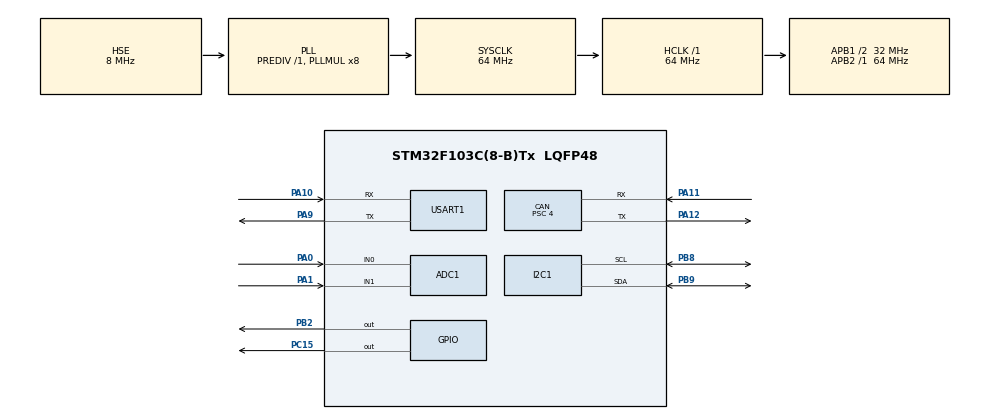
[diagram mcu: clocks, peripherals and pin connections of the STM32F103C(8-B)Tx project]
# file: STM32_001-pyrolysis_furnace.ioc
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Mcu.Family=STM32F1
RCC.PLLSourceVirtual=RCC_PLLSOURCE_HSE
Dma.ADC1.0.Instance=DMA1_Channel1
ADC1.Rank-0\#ChannelRegularConversion=1
PD1-OSC_OUT.Mode=HSE-External-Oscillator
PA10.Mode=Asynchronous
ADC1.ContinuousConvMode=ENABLE
CAN.ABOM=ENABLE
CAN.CalculateBaudRate=500000
PA11.Mode=CAN_Activate
PD0-OSC_IN.Signal=RCC_OSC_IN
RCC.APB1CLKDivider=RCC_HCLK_DIV2
CAN.CalculateTimeBit=2000.00
RCC.SYSCLKSource=RCC_SYSCLKSOURCE_PLLCLK
ProjectManager.StackSize=0x400
PA0-WKUP.Signal=ADCx_IN0
PD1-OSC_OUT.Signal=RCC_OSC_OUT
RCC.ADCPresc=RCC_ADCPCLK2_DIV6
PA13.Signal=SYS_JTMS-SWDIO
Dma.ADC1.0.PeriphDataAlignment=DMA_PDATAALIGN_HALFWORD
PA9.Mode=Asynchronous
CAN.BS2=CAN_BS2_2TQ
PA12.Signal=CAN_TX
CAN.Prescaler=4
CAN.BS1=CAN_BS1_13TQ
ProjectManager.TargetToolchain=STM32CubeIDE
Dma.ADC1.0.Mode=DMA_CIRCULAR
I2C1.I2C_Mode=I2C_Fast
RCC.HCLKFreq_Value=64000000
PB9.Mode=I2C
Dma.ADC1.0.Priority=DMA_PRIORITY_MEDIUM
RCC.APB2TimFreq_Value=64000000
PA9.Signal=USART1_TX
ADC1.Channel-1\#ChannelRegularConversion=ADC_CHANNEL_1
Dma.ADC1.0.Direction=DMA_PERIPH_TO_MEMORY
RCC.USBFreq_Value=64000000
NVIC.CAN1_SCE_IRQn=true\:0\:0\:false\:false\:true\:true\:true
PC15-OSC32_OUT.Signal=GPIO_Output
Dma.ADC1.0.MemDataAlignment=DMA_MDATAALIGN_HALFWORD
PA1.Signal=ADCx_IN1
RCC.AHBFreq_Value=64000000
PD0-OSC_IN.Mode=HSE-External-Oscillator
ADC1.Channel-0\#ChannelRegularConversion=ADC_CHANNEL_0
PB2.Signal=GPIO_Output
board=custom
RCC.RTCClockSelection=RCC_RTCCLKSOURCE_LSE
RCC.PLLMUL=RCC_PLL_MUL8
RCC.APB2Freq_Value=64000000
PA14.Mode=Serial_Wire
Dma.ADC1.0.PeriphInc=DMA_PINC_DISABLE
NVIC.USB_LP_CAN1_RX0_IRQn=true\:0\:0\:false\:false\:true\:true\:true
CAN.NART=ENABLE
SH.ADCx_IN0.0=ADC1_IN0,IN0
ADC1.NbrOfConversion=2
PA13.Mode=Serial_Wire
Mcu.Name=STM32F103C(8-B)Tx
CAN.CalculateTimeQuantum=125.0
ADC1.SamplingTime-0\#ChannelRegularConversion=ADC_SAMPLETIME_13CYCLES_5
PB3.Signal=SPI1_SCK
ADC1.SamplingTime-1\#ChannelRegularConversion=ADC_SAMPLETIME_13CYCLES_5
RCC.SYSCLKFreq_VALUE=64000000
Mcu.Package=LQFP48
PB9.Signal=I2C1_SDA
ADC1.master=1
PA12.Mode=CAN_Activate
USART1.VirtualMode=VM_ASYNC
ADC1.Rank-1\#ChannelRegularConversion=2
PA11.Signal=CAN_RX
PA14.Signal=SYS_JTCK-SWCLK
PA10.Signal=USART1_RX
Dma.ADC1.0.MemInc=DMA_MINC_ENABLE
ProjectManager.HeapSize=0x200
NVIC.PriorityGroup=NVIC_PRIORITYGROUP_4
ADC1.NbrOfConversionFlag=1
SH.ADCx_IN1.0=ADC1_IN1,IN1
PB8.Mode=I2C
PC15-OSC32_OUT.GPIO_ModeDefaultOutputPP=GPIO_MODE_OUTPUT_OD
CAN.TXFP=ENABLE
RCC.APB1TimFreq_Value=64000000
PB8.Signal=I2C1_SCL
NVIC.DMA1_Channel1_IRQn=true\:0\:0\:false\:false\:true\:false\:true
NVIC.USART1_IRQn=true\:0\:0\:false\:false\:true\:true\:true
Dma.Request0=ADC1
RCC.APB1Freq_Value=32000000
PB4.Signal=SPI1_MISO

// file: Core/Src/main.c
/* USER CODE BEGIN Header */
/**
 ******************************************************************************
 * @file           : main.c
 * @brief          : Main program body
 ******************************************************************************
 * @attention
 *
 * <h2><center>&copy; Copyright (c) 2020 STMicroelectronics.
 * All rights reserved.</center></h2>
 *
 * This software component is licensed by ST under BSD 3-Clause license,
 * the "License"; You may not use this file except in compliance with the
 * License. You may obtain a copy of the License at:
 *                        opensource.org/licenses/BSD-3-Clause
 *
 ******************************************************************************
 */
/* USER CODE END Header */
#include "main.h"

/* USER CODE BEGIN Includes */
#include "stdio.h"
#include "string.h"
#include "ssd1306.h"
#include <stdbool.h>
/* USER CODE END Includes */

ADC_HandleTypeDef hadc1;
DMA_HandleTypeDef hdma_adc1;

CAN_HandleTypeDef hcan;

I2C_HandleTypeDef hi2c1;

UART_HandleTypeDef huart1;

/* USER CODE BEGIN PV */

// OLED variables
uint16_t counter, Xpos, Ypos;

volatile uint8_t flagADC = 0;
volatile uint16_t adc[10] = { 0, }; // у нас два канала поэтому массив из двух элементов

// Throttle position variables
uint16_t Tsp1 = 0;
uint16_t Tsp2 = 0;

uint16_t TP1 = 0;
uint16_t TP2 = 0;

uint16_t PID1_PARAM_KP, PID1_PARAM_KI, PID1_PARAM_KD;
uint8_t flagSendPID1Param = 0;

// Temperature variables
uint16_t ntcTemp[4] = { 0, };
uint16_t tcTemp = 0;

// Keypad variables
uint8_t flag_xpos_press = 1;
uint8_t flag_xpos_wait = 1;
uint32_t time_xpos_press = 0;

uint8_t flag_ypos_press = 1;
uint8_t flag_ypos_wait = 1;
uint32_t time_ypos_press = 0;

// UART variables
char trans_uart[64] = { 0, };
uint8_t buff[8] = { 0, }; // буффер на прием

uint16_t time = 0;
bool flagSendUART = false;
//uint16_t spTP1 = 0; // уже есть Tsp1 и Tsp2
//uint16_t spTP2 = 0;

// CAN private variables
char trans_str[128] = { 0, };
CAN_TxHeaderTypeDef TxHeader;
CAN_RxHeaderTypeDef RxHeader;
uint8_t TxData[8] = { 0, };
uint8_t RxData[8] = { 0, };
uint32_t TxMailbox = 0;
bool flagErrorCAN = false;
uint32_t er = 0;
/* USER CODE END PV */

void SystemClock_Config(void);
static void MX_GPIO_Init(void);
static void MX_DMA_Init(void);
static void MX_ADC1_Init(void);
static void MX_CAN_Init(void);
static void MX_I2C1_Init(void);
static void MX_USART1_UART_Init(void);
/* USER CODE BEGIN PFP */
void Buttons_Check(void);
/* USER CODE END PFP */

/* USER CODE BEGIN 0 */
void HAL_UART_RxCpltCallback(UART_HandleTypeDef *huart) {
	if (huart == &huart1) {

		// debug
//		HAL_GPIO_TogglePin(GPIOC, GPIO_PIN_15);
//		snprintf(trans_str, 63, "%02d,%02d", buff[0], buff[1]);
//		HAL_UART_Transmit(&huart1, (uint8_t*) trans_str, strlen(trans_str),
//				1000);
//		HAL_GPIO_TogglePin(GPIOC, GPIO_PIN_15);
		// debug

		HAL_GPIO_TogglePin(GPIOB, GPIO_PIN_2);
		flagSendUART = true;

	}
}

void HAL_ADC_ConvCpltCallback(ADC_HandleTypeDef *hadc) {
	if (hadc->Instance == ADC1) {
		flagADC = 1;
//		counterDMA++;
	}
}

void HAL_CAN_RxFifo0MsgPendingCallback(CAN_HandleTypeDef *hcan) {
	if (HAL_CAN_GetRxMessage(hcan, CAN_RX_FIFO0, &RxHeader, RxData) == HAL_OK) {
//		HAL_GPIO_TogglePin(GPIOB, GPIO_PIN_2);

		if (RxHeader.StdId == 0x0100) {
			TP1 = (RxData[1] << 8) | RxData[0];
			TP2 = (RxData[3] << 8) | RxData[2];

		} else if (RxHeader.StdId == 0x0120) {
			ntcTemp[0] = RxData[0];
			ntcTemp[1] = RxData[1];
			ntcTemp[2] = RxData[2];
			ntcTemp[3] = RxData[3];

			tcTemp = (RxData[5] << 8) | RxData[4];
//			tcTemp = RxData[4];

//			HAL_GPIO_TogglePin(GPIOC, GPIO_PIN_15);
//			//TP1 = 100;
//			snprintf(trans_uart, 63,
//					"%01d,%c,%c,%03d,%03d,%03d,%03d,%03d,%03d,%03d\r\n", 1, (char) (TP1+1),
//					(char) (TP2+1), Tsp1, Tsp2, ntcTemp[0], ntcTemp[1], ntcTemp[2],
//					ntcTemp[3], tcTemp);
//			HAL_UART_Transmit(&huart1, (uint8_t*) trans_uart,
//					strlen(trans_uart), 1000);
//			HAL_GPIO_TogglePin(GPIOC, GPIO_PIN_15);

		} else if (RxHeader.StdId == 0x0126) {
			//			HAL_GPIO_TogglePin(GPIOB, GPIO_PIN_2);
		}
	}
}

void HAL_CAN_ErrorCallback(CAN_HandleTypeDef *hcan) {
	er = HAL_CAN_GetError(hcan);
	flagErrorCAN = true;

}
/* USER CODE END 0 */

int main(void) {

	/* MCU Configuration--------------------------------------------------------*/

	/* Reset of all peripherals, Initializes the Flash interface and the Systick. */
	HAL_Init();

	/* Configure the system clock */
	SystemClock_Config();

	/* Initialize all configured peripherals */
	MX_GPIO_Init();
	MX_DMA_Init();
	MX_ADC1_Init();
	MX_CAN_Init();
	MX_I2C1_Init();
	MX_USART1_UART_Init();
	/* USER CODE BEGIN 2 */
	HAL_Delay(50);
	HAL_ADCEx_Calibration_Start(&hadc1);
	HAL_Delay(50);
	HAL_ADC_Start_DMA(&hadc1, (uint32_t*) &adc, 10); // стартуем АЦП
	TxHeader.StdId = 0x0378;
	TxHeader.ExtId = 0;
	TxHeader.RTR = CAN_RTR_DATA; //CAN_RTR_REMOTE
	TxHeader.IDE = CAN_ID_STD;   // CAN_ID_EXT
	TxHeader.DLC = 8;
	TxHeader.TransmitGlobalTime = 0;

	ssd1306_Init();

	ssd1306_SetCursor(0, 0);
	ssd1306_WriteString("Tsp1   Tsp2", Font_11x18, White);
	ssd1306_SetCursor(0, 18);
	sprintf(trans_str, "%03d%%   %03d%%", Tsp1, Tsp2);
	ssd1306_WriteString(trans_str, Font_11x18, White);

	ssd1306_UpdateScreen();

	HAL_GPIO_TogglePin(GPIOB, GPIO_PIN_2);
	HAL_Delay(100);

	HAL_CAN_Start(&hcan);

	HAL_CAN_ActivateNotification(&hcan,
			CAN_IT_RX_FIFO0_MSG_PENDING | CAN_IT_ERROR | CAN_IT_BUSOFF
					| CAN_IT_LAST_ERROR_CODE);

	HAL_UART_Receive_IT(&huart1, (uint8_t*) buff, 8);

	/* USER CODE END 2 */

	/* Infinite loop */
	/* USER CODE BEGIN WHILE */
	while (1) {

		//TxHeader.StdId = 0x0378;
		//TxData[0] = 90;
		Buttons_Check();

		ssd1306_SetCursor(0, 18);
		sprintf(trans_str, "%03d%%   %03d%%", Tsp1, Tsp2);
		ssd1306_WriteString(trans_str, Font_11x18, White);
		ssd1306_UpdateScreen();
		ssd1306_SetCursor(0, 36);

		sprintf(trans_str, "%04d   %04d", TP1, TP2);
		ssd1306_WriteString(trans_str, Font_11x18, White);

		if (flagErrorCAN) {
			sprintf(trans_str, "ERCAN %lu %08lX", er, er);
			ssd1306_SetCursor(0, 54);
			ssd1306_WriteString(trans_str, Font_6x8, White);
			flagErrorCAN = false;
		}

		ssd1306_UpdateScreen();

		// собираем пакет для отправки на заслонки
		if (flagSendPID1Param == 1) {
			TxHeader.StdId = 0x0111;
			TxData[0] = PID1_PARAM_KP;
			TxData[1] = PID1_PARAM_KI;
			TxData[2] = PID1_PARAM_KD;
			flagSendPID1Param = 0;

		} else {
			TxHeader.StdId = 0x0099;
			TxData[0] = Tsp1;
			TxData[1] = Tsp2;
		}

		if (flagSendUART) {

			ssd1306_SetCursor(44, 0);
			sprintf(trans_str, "%03d", time);							// debug
			ssd1306_WriteString(trans_str, Font_11x18, White);

			if (buff[0] == 0) {	// запрос данных от компа

				HAL_GPIO_TogglePin(GPIOC, GPIO_PIN_15);
				if (time >= 1) {
					snprintf(trans_uart, 63,
							"%01d,%03d,%03d,%03d,%03d,%03d,%03d\r\n", 0, TP1,
							TP2, Tsp1, Tsp2, ntcTemp[0], ntcTemp[1]);
					HAL_UART_Transmit(&huart1, (uint8_t*) trans_uart,
							strlen(trans_uart), 1000);
					time = 0;
				} else {
					time++;
					snprintf(trans_uart, 63, "%01d,%03d,%03d,%03d\r\n", 1,
							ntcTemp[2], ntcTemp[3], tcTemp);
					HAL_UART_Transmit(&huart1, (uint8_t*) trans_uart,
							strlen(trans_uart), 1000);
				}
				HAL_GPIO_TogglePin(GPIOC, GPIO_PIN_15);
			} else if (buff[0] == 3) {// получаем значение положения заслонок от компа
				//
				//			HAL_GPIO_TogglePin(GPIOC, GPIO_PIN_15);
				//			snprintf(trans_str, 63, "%02d,%02d,%02d\r\n", buff[0], buff[2], buff[4]);
				//			HAL_UART_Transmit(&huart1, (uint8_t*) trans_str, strlen(trans_str),
				//					1000);
				//			HAL_GPIO_TogglePin(GPIOC, GPIO_PIN_15);

				Tsp1 = buff[2];
				Tsp2 = buff[4];

				if (Tsp1 < 0)		// проверка 0..100
					Tsp1 = 0;
				if (Tsp1 > 100)
					Tsp1 = 100;
				if (Tsp2 < 0)
					Tsp2 = 0;
				if (Tsp2 > 100)
					Tsp2 = 100;

			} else if (buff[0] == 4) {	// получаем коэффициенты PID1 с компа

				PID1_PARAM_KP = buff[2];
				PID1_PARAM_KI = buff[4];
				PID1_PARAM_KD = buff[6];

				// debug
//				HAL_GPIO_TogglePin(GPIOC, GPIO_PIN_15);
//				snprintf(trans_str, 63, "%02d,%02d,%02d,%02d\r\n", buff[0],
//						buff[2], buff[4], buff[6]);
//				HAL_UART_Transmit(&huart1, (uint8_t*) trans_str,
//						strlen(trans_str), 1000);
//				HAL_GPIO_TogglePin(GPIOC, GPIO_PIN_15);
				// debug

				flagSendPID1Param = 1;
			}

			HAL_UART_Receive_IT(&huart1, (uint8_t*) buff, 8);
			flagSendUART = false;

		}

//		while (HAL_CAN_GetTxMailboxesFreeLevel(&hcan) == 0) {
//			// здесь висим если CAN ложиться
//			//i++;
//			//if (i > 0xfffe)
//				//return 1;
//		}
		if (HAL_CAN_GetTxMailboxesFreeLevel(&hcan) == 0) {
			ssd1306_SetCursor(0, 54);
			ssd1306_WriteString("CAN BUSY   ", Font_6x8, White);
			ssd1306_UpdateScreen();
		} else if (HAL_CAN_AddTxMessage(&hcan, &TxHeader, TxData, &TxMailbox)
				!= HAL_OK) {
			ssd1306_SetCursor(0, 54);
			ssd1306_WriteString("CAN ERROR  ", Font_6x8, White);
			ssd1306_UpdateScreen();
		}

//		while (HAL_CAN_GetTxMailboxesFreeLevel(&hcan) == 0);
//
//		if (HAL_CAN_AddTxMessage(&hcan, &TxHeader, TxData, &TxMailbox) != HAL_OK) {
//			HAL_UART_Transmit(&huart1, (uint8_t*) "ER SEND\n", 8, 100);
//		}

		//HAL_Delay(5);

		/* USER CODE END WHILE */

	}
}

void SystemClock_Config(void) {
	RCC_OscInitTypeDef RCC_OscInitStruct = { 0 };
	RCC_ClkInitTypeDef RCC_ClkInitStruct = { 0 };
	RCC_PeriphCLKInitTypeDef PeriphClkInit = { 0 };

	/** Initializes the RCC Oscillators according to the specified parameters
	 * in the RCC_OscInitTypeDef structure.
	 */
	RCC_OscInitStruct.OscillatorType = RCC_OSCILLATORTYPE_HSE;
	RCC_OscInitStruct.HSEState = RCC_HSE_ON;
	RCC_OscInitStruct.HSEPredivValue = RCC_HSE_PREDIV_DIV1;
	RCC_OscInitStruct.HSIState = RCC_HSI_ON;
	RCC_OscInitStruct.PLL.PLLState = RCC_PLL_ON;
	RCC_OscInitStruct.PLL.PLLSource = RCC_PLLSOURCE_HSE;
	RCC_OscInitStruct.PLL.PLLMUL = RCC_PLL_MUL8;
	if (HAL_RCC_OscConfig(&RCC_OscInitStruct) != HAL_OK) {
		Error_Handler();
	}
	/** Initializes the CPU, AHB and APB buses clocks
	 */
	RCC_ClkInitStruct.ClockType = RCC_CLOCKTYPE_HCLK | RCC_CLOCKTYPE_SYSCLK
			| RCC_CLOCKTYPE_PCLK1 | RCC_CLOCKTYPE_PCLK2;
	RCC_ClkInitStruct.SYSCLKSource = RCC_SYSCLKSOURCE_PLLCLK;
	RCC_ClkInitStruct.AHBCLKDivider = RCC_SYSCLK_DIV1;
	RCC_ClkInitStruct.APB1CLKDivider = RCC_HCLK_DIV2;
	RCC_ClkInitStruct.APB2CLKDivider = RCC_HCLK_DIV1;

	if (HAL_RCC_ClockConfig(&RCC_ClkInitStruct, FLASH_LATENCY_2) != HAL_OK) {
		Error_Handler();
	}
	PeriphClkInit.PeriphClockSelection = RCC_PERIPHCLK_ADC;
	PeriphClkInit.AdcClockSelection = RCC_ADCPCLK2_DIV6;
	if (HAL_RCCEx_PeriphCLKConfig(&PeriphClkInit) != HAL_OK) {
		Error_Handler();
	}
}

static void MX_ADC1_Init(void) {

	ADC_ChannelConfTypeDef sConfig = { 0 };

	/** Common config
	 */
	hadc1.Instance = ADC1;
	hadc1.Init.ScanConvMode = ADC_SCAN_ENABLE;
	hadc1.Init.ContinuousConvMode = ENABLE;
	hadc1.Init.DiscontinuousConvMode = DISABLE;
	hadc1.Init.ExternalTrigConv = ADC_SOFTWARE_START;
	hadc1.Init.DataAlign = ADC_DATAALIGN_RIGHT;
	hadc1.Init.NbrOfConversion = 2;
	if (HAL_ADC_Init(&hadc1) != HAL_OK) {
		Error_Handler();
	}
	/** Configure Regular Channel
	 */
	sConfig.Channel = ADC_CHANNEL_0;
	sConfig.Rank = ADC_REGULAR_RANK_1;
	sConfig.SamplingTime = ADC_SAMPLETIME_13CYCLES_5;
	if (HAL_ADC_ConfigChannel(&hadc1, &sConfig) != HAL_OK) {
		Error_Handler();
	}
	/** Configure Regular Channel
	 */
	sConfig.Channel = ADC_CHANNEL_1;
	sConfig.Rank = ADC_REGULAR_RANK_2;
	if (HAL_ADC_ConfigChannel(&hadc1, &sConfig) != HAL_OK) {
		Error_Handler();
	}

}

static void MX_CAN_Init(void) {

	/* USER CODE BEGIN CAN_Init 0 */
	CAN_FilterTypeDef sFilterConfig;
	/* USER CODE END CAN_Init 0 */

	hcan.Instance = CAN1;
	hcan.Init.Prescaler = 4;
	hcan.Init.Mode = CAN_MODE_NORMAL;
	hcan.Init.SyncJumpWidth = CAN_SJW_1TQ;
	hcan.Init.TimeSeg1 = CAN_BS1_13TQ;
	hcan.Init.TimeSeg2 = CAN_BS2_2TQ;
	hcan.Init.TimeTriggeredMode = DISABLE;
	hcan.Init.AutoBusOff = ENABLE;
	hcan.Init.AutoWakeUp = DISABLE;
	hcan.Init.AutoRetransmission = ENABLE;
	hcan.Init.ReceiveFifoLocked = DISABLE;
	hcan.Init.TransmitFifoPriority = ENABLE;
	if (HAL_CAN_Init(&hcan) != HAL_OK) {
		Error_Handler();
	}
	/* USER CODE BEGIN CAN_Init 2 */
	sFilterConfig.FilterBank = 0;
	sFilterConfig.FilterMode = CAN_FILTERMODE_IDMASK;
	sFilterConfig.FilterScale = CAN_FILTERSCALE_32BIT;
	sFilterConfig.FilterIdHigh = 0x0000;
	sFilterConfig.FilterIdLow = 0x0000;
	sFilterConfig.FilterMaskIdHigh = 0x0000;
	sFilterConfig.FilterMaskIdLow = 0x0000;
	sFilterConfig.FilterFIFOAssignment = CAN_RX_FIFO0;
	sFilterConfig.FilterActivation = ENABLE;
	//sFilterConfig.SlaveStartFilterBank = 14;

	if (HAL_CAN_ConfigFilter(&hcan, &sFilterConfig) != HAL_OK) {
		Error_Handler();
	}
	/* USER CODE END CAN_Init 2 */

}

static void MX_I2C1_Init(void) {

	hi2c1.Instance = I2C1;
	hi2c1.Init.ClockSpeed = 400000;
	hi2c1.Init.DutyCycle = I2C_DUTYCYCLE_2;
	hi2c1.Init.OwnAddress1 = 0;
	hi2c1.Init.AddressingMode = I2C_ADDRESSINGMODE_7BIT;
	hi2c1.Init.DualAddressMode = I2C_DUALADDRESS_DISABLE;
	hi2c1.Init.OwnAddress2 = 0;
	hi2c1.Init.GeneralCallMode = I2C_GENERALCALL_DISABLE;
	hi2c1.Init.NoStretchMode = I2C_NOSTRETCH_DISABLE;
	if (HAL_I2C_Init(&hi2c1) != HAL_OK) {
		Error_Handler();
	}

}

static void MX_USART1_UART_Init(void) {

	huart1.Instance = USART1;
	huart1.Init.BaudRate = 115200;
	huart1.Init.WordLength = UART_WORDLENGTH_8B;
	huart1.Init.StopBits = UART_STOPBITS_1;
	huart1.Init.Parity = UART_PARITY_NONE;
	huart1.Init.Mode = UART_MODE_TX_RX;
	huart1.Init.HwFlowCtl = UART_HWCONTROL_NONE;
	huart1.Init.OverSampling = UART_OVERSAMPLING_16;
	if (HAL_UART_Init(&huart1) != HAL_OK) {
		Error_Handler();
	}

}

static void MX_DMA_Init(void) {

	/* DMA controller clock enable */
	__HAL_RCC_DMA1_CLK_ENABLE();

	/* DMA interrupt init */
	/* DMA1_Channel1_IRQn interrupt configuration */
	HAL_NVIC_SetPriority(DMA1_Channel1_IRQn, 0, 0);
	HAL_NVIC_EnableIRQ(DMA1_Channel1_IRQn);

}

static void MX_GPIO_Init(void) {
	GPIO_InitTypeDef GPIO_InitStruct = { 0 };

	/* GPIO Ports Clock Enable */
	__HAL_RCC_GPIOC_CLK_ENABLE();
	__HAL_RCC_GPIOD_CLK_ENABLE();
	__HAL_RCC_GPIOA_CLK_ENABLE();
	__HAL_RCC_GPIOB_CLK_ENABLE();

	/*Configure GPIO pin Output Level */
	HAL_GPIO_WritePin(GPIOC, GPIO_PIN_15, GPIO_PIN_RESET);

	/*Configure GPIO pin Output Level */
	HAL_GPIO_WritePin(GPIOB, GPIO_PIN_2, GPIO_PIN_RESET);

	/*Configure GPIO pin : PC15 */
	GPIO_InitStruct.Pin = GPIO_PIN_15;
	GPIO_InitStruct.Mode = GPIO_MODE_OUTPUT_OD;
	GPIO_InitStruct.Pull = GPIO_NOPULL;
	GPIO_InitStruct.Speed = GPIO_SPEED_FREQ_LOW;
	HAL_GPIO_Init(GPIOC, &GPIO_InitStruct);

	/*Configure GPIO pin : PB2 */
	GPIO_InitStruct.Pin = GPIO_PIN_2;
	GPIO_InitStruct.Mode = GPIO_MODE_OUTPUT_PP;
	GPIO_InitStruct.Pull = GPIO_NOPULL;
	GPIO_InitStruct.Speed = GPIO_SPEED_FREQ_LOW;
	HAL_GPIO_Init(GPIOB, &GPIO_InitStruct);

	/*Configure GPIO pins : PB3 PB4 */
	GPIO_InitStruct.Pin = GPIO_PIN_3 | GPIO_PIN_4;
	GPIO_InitStruct.Mode = GPIO_MODE_AF_PP;
	GPIO_InitStruct.Speed = GPIO_SPEED_FREQ_HIGH;
	HAL_GPIO_Init(GPIOB, &GPIO_InitStruct);

	/*Configure peripheral I/O remapping */
	__HAL_AFIO_REMAP_SPI1_ENABLE();

}

/* USER CODE BEGIN 4 */
void Buttons_Check(void) {
	int i;

	if (flagADC) {
		Xpos = 0;
		Ypos = 0;
		for (i = 0; i < 10; i = i + 2) {
			Xpos = Xpos + adc[i];
			Ypos = Ypos + adc[i + 1];
		}
		Xpos /= 50;
		Ypos /= 50;
		//HAL_Delay(500);

		flagADC = 0;
	}

	if ((Xpos < 150 || Xpos > 250) && flag_xpos_press) {
		flag_xpos_press = 0;
		flag_xpos_wait = 0;
		time_xpos_press = HAL_GetTick();
	}

	if (!flag_xpos_wait && (HAL_GetTick() - time_xpos_press) > 50) {
		if (Xpos < 10) {
			// действие на нажатие
			if (Tsp1 > 5)
				Tsp1 -= 5;
			else
				Tsp1 = 0;
			flag_xpos_wait = 1;
		} else if (Xpos < 150 && Xpos > 10) {
			// действие на нажатие
			if (Tsp1 > 1)
				Tsp1 -= 1;
			else
				Tsp1 = 0;
			flag_xpos_wait = 1;
		} else if (Xpos > 390) {
			// действие на нажатие
			if (Tsp1 < 95)
				Tsp1 += 5;
			else
				Tsp1 = 100;
			flag_xpos_wait = 1;
		} else if (Xpos > 250) {
			// действие на нажатие
			if (Tsp1 < 99)
				Tsp1 += 1;
			else
				Tsp1 = 100;
			flag_xpos_wait = 1;
		} else {
			flag_xpos_wait = 1;
			flag_xpos_press = 1;
		}
	}
	if ((Xpos < 50 || Xpos > 350) && !flag_xpos_press
			&& (HAL_GetTick() - time_xpos_press) > 100)
		flag_xpos_press = 1;
	if ((Xpos < 100 || Xpos > 300) && !flag_xpos_press
			&& (HAL_GetTick() - time_xpos_press) > 250)
		flag_xpos_press = 1;
	if (!flag_xpos_press && (HAL_GetTick() - time_xpos_press) > 500)
		flag_xpos_press = 1;

	if ((Ypos < 150 || Ypos > 250) && flag_ypos_press) {
		flag_ypos_press = 0;
		flag_ypos_wait = 0;
		time_ypos_press = HAL_GetTick();
	}

	if (!flag_ypos_wait && (HAL_GetTick() - time_ypos_press) > 50) {
		if (Ypos <= 3) {
			// действие на нажатие
			if (Tsp2 > 5)
				Tsp2 -= 5;
			else
				Tsp2 = 0;
			flag_ypos_wait = 1;
		} else if (Ypos < 150 && Ypos > 3) {
			// действие на нажатие
			if (Tsp2 > 1)
				Tsp2 -= 1;
			else
				Tsp2 = 0;
			flag_ypos_wait = 1;
		} else if (Ypos > 405) {
			// действие на нажатие
			if (Tsp2 < 95)
				Tsp2 += 5;
			else
				Tsp2 = 100;
			flag_ypos_wait = 1;
		} else if (Ypos > 250) {
			// действие на нажатие
			if (Tsp2 < 99)
				Tsp2 += 1;
			else
				Tsp2 = 100;
			flag_ypos_wait = 1;
		} else {
			flag_ypos_wait = 1;
			flag_ypos_press = 1;
		}
	}
	if ((Ypos < 50 || Ypos > 350) && !flag_ypos_press
			&& (HAL_GetTick() - time_ypos_press) > 100)
		flag_ypos_press = 1;
	if ((Ypos < 100 || Ypos > 300) && !flag_ypos_press
			&& (HAL_GetTick() - time_ypos_press) > 250)
		flag_ypos_press = 1;
	if (!flag_ypos_press && (HAL_GetTick() - time_ypos_press) > 500)
		flag_ypos_press = 1;
}
/* USER CODE END 4 */

void Error_Handler(void) {
}

/************************ (C) COPYRIGHT STMicroelectronics *****END OF FILE****/
